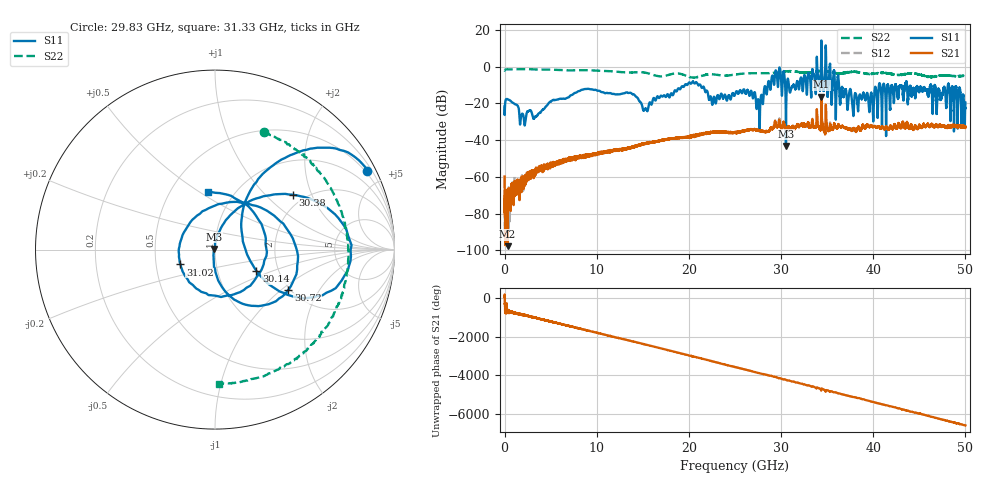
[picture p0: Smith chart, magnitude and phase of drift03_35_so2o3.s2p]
!Created with skrf (http://scikit-rf.org).
# Hz S RI R 50.0
!freq ReS11 ImS11 ReS21 ImS21 ReS12 ImS12 ReS22 ImS22
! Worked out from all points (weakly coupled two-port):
!   10001 points, 300 kHz to 50 GHz, reference 50 ohm
!   highest |S21| = -16.34 dB at 34.37 GHz (marker M1); lowest = -97.7 dB at 315.3 MHz (marker M2)
!   lowest |S11| = -43.1 dB at 30.53 GHz (marker M3), VSWR 1.01, Z = 49.4 + j0.362 ohm
!   |S11| at or under -10 dB: start of sweep to 19.56 GHz; 21.25 GHz to 28.55 GHz (7.297 GHz wide, 29.3 % of centre); 36.28 GHz to 40.62 GHz (4.337 GHz wide, 11.3 % of centre) (the widest 3 of 37)
!   |S22| runs from -5.9 to -1.3 dB; largest |S21 - S12| = 0.029
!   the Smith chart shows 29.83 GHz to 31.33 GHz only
!   S11 on the Smith chart (normalised r, x): 29.83 GHz: 0.44, +4.08; 30.14 GHz: 1.54, -0.39; 30.38 GHz: 1.74, +1.48; 30.72 GHz: 1.96, -1.12; 31.02 GHz: 0.67, -0.12; 31.33 GHz: 0.76, +0.54
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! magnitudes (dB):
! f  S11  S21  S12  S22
! 300 kHz  -21.7  -59.8  -60.4  -2.1
! 315.3 MHz  -17.6  -97.7  -76.7  -1.4
! 3.3 GHz  -27.2  -57.8  -57.7  -1.5
! 8.335 GHz  -12.6  -49.0  -49.0  -1.9
! 15.28 GHz  -22.8  -42.0  -41.8  -3.3
! 16.67 GHz  -16.5  -40.7  -40.4  -5.2
! 20.26 GHz  -9.1  -38.3  -38.1  -5.8
! 22.71 GHz  -16.5  -35.4  -35.6  -4.2
! 25 GHz  -15.3  -35.5  -35.7  -4.3
! 27.53 GHz  -17.8  -34.8  -34.6  -3.5
! 29.83 GHz  -0.4  -29.3  -28.6  -3.0
! 30.14 GHz  -11.7  -33.1  -33.3  -2.8
! 30.38 GHz  -5.5  -32.1  -32.5  -2.6
! 30.53 GHz  -43.1  -34.1  -34.2  -2.6
! 30.72 GHz  -6.6  -32.8  -32.8  -2.5
! 31.02 GHz  -13.5  -34.1  -34.2  -2.4
! 31.33 GHz  -9.8  -32.5  -32.5  -2.5
! 33.34 GHz  -7.3  -31.5  -31.3  -2.9
! 34.37 GHz  14.3  -16.3  -17.5  -2.2
! 37.86 GHz  -26.3  -33.4  -34.0  -2.8
! 41.67 GHz  -11.5  -34.2  -34.2  -3.7
! 50 GHz  -19.6  -32.7  -32.8  -5.0
